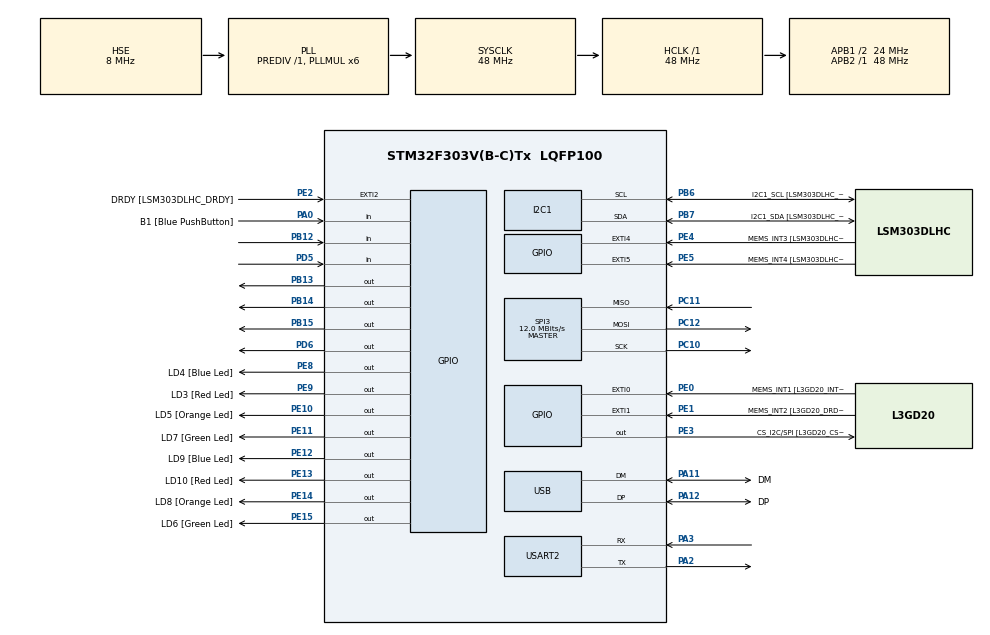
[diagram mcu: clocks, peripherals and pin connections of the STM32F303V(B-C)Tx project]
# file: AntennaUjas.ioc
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I2C1.Timing=0x2000090E
I2C1.Timing-I2C=0x2000090E
Mcu.Family=STM32F3
Mcu.Name=STM32F303V(B-C)Tx
Mcu.Package=LQFP100
NVIC.PriorityGroup=NVIC_PRIORITYGROUP_0
NVIC.SPI3_IRQn=true\:0\:0\:false\:false\:true\:true\:true\:true
PA0.GPIO_Label=B1 [Blue PushButton]
PA0.Signal=GPIO_Input
PA11.GPIO_Label=DM
PA11.Mode=Device
PA11.Signal=USB_DM
PA12.GPIO_Label=DP
PA12.Mode=Device
PA12.Signal=USB_DP
PA13.GPIO_Label=SWDIO
PA13.Mode=Serial_Wire
PA13.Signal=SYS_JTMS-SWDIO
PA14.GPIO_Label=SWCLK
PA14.Mode=Serial_Wire
PA14.Signal=SYS_JTCK-SWCLK
PA2.Mode=Asynchronous
PA2.Signal=USART2_TX
PA3.Mode=Asynchronous
PA3.Signal=USART2_RX
PB12.Signal=GPIO_Input
PB13.Signal=GPIO_Output
PB14.Signal=GPIO_Output
PB15.Signal=GPIO_Output
PB3.GPIO_Label=SWO
PB3.Signal=SYS_JTDO-TRACESWO
PB6.GPIO_Label=I2C1_SCL [LSM303DLHC_SCL]
PB6.GPIO_Pu=GPIO_PULLUP
PB6.Mode=I2C
PB6.Signal=I2C1_SCL
PB7.GPIO_Label=I2C1_SDA [LSM303DLHC_SDA]
PB7.GPIO_Pu=GPIO_PULLUP
PB7.Mode=I2C
PB7.Signal=I2C1_SDA
PC10.Mode=Full_Duplex_Master
PC10.Signal=SPI3_SCK
PC11.Mode=Full_Duplex_Master
PC11.Signal=SPI3_MISO
PC12.Mode=Full_Duplex_Master
PC12.Signal=SPI3_MOSI
PC14-OSC32_IN.GPIO_Label=OSC32_IN
PC14-OSC32_IN.Signal=RCC_OSC32_IN
PC15-OSC32_OUT.GPIO_Label=OSC32_OUT
PC15-OSC32_OUT.Signal=RCC_OSC32_OUT
PD5.GPIO_PuPd=GPIO_NOPULL
PD5.Signal=GPIO_Input
PD6.GPIO_ModeDefaultOutputPP=GPIO_MODE_OUTPUT_PP
PD6.GPIO_PuPd=GPIO_NOPULL
PD6.Signal=GPIO_Output
PE0.GPIO_Label=MEMS_INT1 [L3GD20_INT1]
PE0.GPIO_ModeDefaultEXTI=GPIO_MODE_EVT_RISING
PE0.Signal=GPXTI0
PE1.GPIO_Label=MEMS_INT2 [L3GD20_DRDY/INT2]
PE1.GPIO_ModeDefaultEXTI=GPIO_MODE_EVT_RISING
PE1.Signal=GPXTI1
PE10.GPIO_Label=LD5 [Orange Led]
PE10.Signal=GPIO_Output
PE11.GPIO_Label=LD7 [Green Led]
PE11.Signal=GPIO_Output
PE12.GPIO_Label=LD9 [Blue Led]
PE12.Signal=GPIO_Output
PE13.GPIO_Label=LD10 [Red Led]
PE13.Signal=GPIO_Output
PE14.GPIO_Label=LD8 [Orange Led]
PE14.Signal=GPIO_Output
PE15.GPIO_Label=LD6 [Green Led]
PE15.Signal=GPIO_Output
PE2.GPIO_Label=DRDY [LSM303DLHC_DRDY]
PE2.GPIO_ModeDefaultEXTI=GPIO_MODE_EVT_RISING
PE2.Signal=GPXTI2
PE3.GPIO_Label=CS_I2C/SPI [L3GD20_CS_I2C/SPI]
PE3.Signal=GPIO_Output
PE4.GPIO_Label=MEMS_INT3 [LSM303DLHC_INT1]
PE4.GPIO_ModeDefaultEXTI=GPIO_MODE_EVT_RISING
PE4.Signal=GPXTI4
PE5.GPIO_Label=MEMS_INT4 [LSM303DLHC_INT2]
PE5.GPIO_ModeDefaultEXTI=GPIO_MODE_EVT_RISING
PE5.Signal=GPXTI5
PE8.GPIO_Label=LD4 [Blue Led]
PE8.Signal=GPIO_Output
PE9.GPIO_Label=LD3 [Red Led]
PE9.Signal=GPIO_Output
PF0-OSC_IN.GPIO_Label=OSC_IN
PF0-OSC_IN.Mode=HSE-External-Clock-Source
PF0-OSC_IN.Signal=RCC_OSC_IN
PF1-OSC_OUT.GPIO_Label=OSC_OUT
PF1-OSC_OUT.Signal=RCC_OSC_OUT
ProjectManager.HeapSize=0x200
ProjectManager.StackSize=0x400
ProjectManager.TargetToolchain=STM32CubeIDE
RCC.AHBFreq_Value=48000000
RCC.APB1CLKDivider=RCC_HCLK_DIV2
RCC.APB1Freq_Value=24000000
RCC.APB1TimFreq_Value=48000000
RCC.APB2Freq_Value=48000000
RCC.APB2TimFreq_Value=48000000
RCC.CortexFreq_Value=48000000
RCC.HCLKFreq_Value=48000000
RCC.HSE_VALUE=8000000
RCC.HSI_VALUE=8000000
RCC.LSE_VALUE=32768
RCC.PLLMUL=RCC_PLL_MUL6
RCC.SYSCLKFreq_VALUE=48000000
RCC.SYSCLKSourceVirtual=RCC_SYSCLKSOURCE_PLLCLK
RCC.USBFreq_Value=48000000
SPI3.CalculateBaudRate=12.0 MBits/s
SPI3.Direction=SPI_DIRECTION_2LINES
SPI3.Mode=SPI_MODE_MASTER
SPI3.VirtualType=VM_MASTER
USART2.VirtualMode-Asynchronous=VM_ASYNC
VP_TIM1_VS_ClockSourceINT.Mode=Internal
board=STM32F3DISCOVERY

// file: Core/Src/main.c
/* USER CODE BEGIN Header */
/**
  ******************************************************************************
  * @file           : main.c
  * @brief          : Main program body
  ******************************************************************************
  * @attention
  *
  * Copyright (c) 2023 STMicroelectronics.
  * All rights reserved.
  *
  * This software is licensed under terms that can be found in the LICENSE file
  * in the root directory of this software component.
  * If no LICENSE file comes with this software, it is provided AS-IS.
  *
  ******************************************************************************
  */
/* USER CODE END Header */
#include "main.h"
#include "i2c.h"
#include "spi.h"
#include "tim.h"
#include "usart.h"
#include "usb.h"
#include "gpio.h"

/* USER CODE BEGIN Includes */
#include <stdio.h>
#include <stdlib.h>
#include "NRF905.h"
/* USER CODE END Includes */

void SystemClock_Config(void);
/* USER CODE BEGIN PFP */
int _write(int file, char *ptr, int len) {
	HAL_UART_Transmit(&huart2, (uint8_t*) ptr, len, 50);
	for (int i = 0; i < len; i++) {
		ITM_SendChar(*ptr++);
	}
	return len;
}
/* USER CODE END PFP */

/* USER CODE BEGIN 0 */
NRF905_hw_t NRF905_hw;
NRF905_t NRF905;

int master;
int ret;

char buffer[64];
char nrf905_payload_buffer[NRF905_MAX_PAYLOAD + 1];

int message;
int message_length;

int number = 1234;
char str [10];

uint32_t my_address;
uint32_t receiver_address;
uint32_t ans_data;

#define ADDRESS_MASTER 0x25D34478
#define ADDRESS_SLAVE  0x6DA0C59B
/* USER CODE END 0 */

int main(void)
{

  /* MCU Configuration--------------------------------------------------------*/

  /* Reset of all peripherals, Initializes the Flash interface and the Systick. */
  HAL_Init();

  /* Configure the system clock */
  SystemClock_Config();

  /* Initialize all configured peripherals */
  MX_GPIO_Init();
  MX_I2C1_Init();
  MX_USB_PCD_Init();
  MX_USART2_UART_Init();
  MX_SPI3_Init();
  MX_TIM1_Init();
  /* USER CODE BEGIN 2 */
	uint32_t uid = 0x00;
	for (uint8_t i = 0; i < 3; ++i) {
		uid += *(uint32_t*) (UID_BASE + i * 4);
	}
	srand(uid);

	NRF905_hw.gpio[NRF905_HW_GPIO_TXEN].pin = GPIO_PIN_15;
	NRF905_hw.gpio[NRF905_HW_GPIO_TXEN].port = GPIOB;
	NRF905_hw.gpio[NRF905_HW_GPIO_TRX_EN].pin = GPIO_PIN_13;
	NRF905_hw.gpio[NRF905_HW_GPIO_TRX_EN].port = GPIOB;
	NRF905_hw.gpio[NRF905_HW_GPIO_PWR].pin = GPIO_PIN_14;
	NRF905_hw.gpio[NRF905_HW_GPIO_PWR].port = GPIOB;

	NRF905_hw.gpio[NRF905_HW_GPIO_CD].pin = GPIO_PIN_12;
	NRF905_hw.gpio[NRF905_HW_GPIO_CD].port = GPIOB;
	NRF905_hw.gpio[NRF905_HW_GPIO_AM].pin = 0;
	NRF905_hw.gpio[NRF905_HW_GPIO_AM].port = NULL;
	NRF905_hw.gpio[NRF905_HW_GPIO_DR].pin = 0;
	NRF905_hw.gpio[NRF905_HW_GPIO_DR].port = NULL;

	NRF905_hw.gpio[NRF905_HW_GPIO_CS].pin = GPIO_PIN_3;
	NRF905_hw.gpio[NRF905_HW_GPIO_CS].port = GPIOE;

	NRF905_hw.tim = &htim1;
	NRF905_hw.spi = &hspi3;

    HAL_GPIO_WritePin(GPIOD, GPIO_PIN_6, GPIO_PIN_SET);

	master = HAL_GPIO_ReadPin(GPIOD, GPIO_PIN_6);

//	if (master == 1) {
//		my_address = ADDRESS_MASTER;
//		receiver_address = ADDRESS_SLAVE;
//	} else {
//		my_address = ADDRESS_SLAVE;
//		receiver_address = ADDRESS_MASTER;
//	}
//
//	if (master == 1) {
//		printf("Mode: Master, TX, %08lX\r\n", my_address);
//		HAL_GPIO_WritePin(GPIOE, LD9_Pin, GPIO_PIN_RESET);
//	} else {
//		printf("Mode: Slave, RX, %08lX\r\n", my_address);
//
//		HAL_GPIO_WritePin(GPIOE, LD9_Pin, GPIO_PIN_SET);
//	}
//
//	NRF905_init(&NRF905, &NRF905_hw);
//	NRF905_set_listen_address(&NRF905, receiver_address);
//
//	printf("Reg conf: ");
//	for (int i = 0; i < 10; ++i) {
//		uint8_t d = NRF905_write_config_register(&NRF905, i, i);
////		uint8_t d = NRF905_read_config_register(&NRF905, i);
//		printf("%02X, ", d);
//	}
//	printf("\r\n");
  /* USER CODE END 2 */

  /* Infinite loop */
  /* USER CODE BEGIN WHILE */
//	int c = 0;

	  while (1)
	  {
			if (master >= 1) {
				my_address = ADDRESS_MASTER;
				receiver_address = ADDRESS_SLAVE;
			} else {
				my_address = ADDRESS_SLAVE;
				receiver_address = ADDRESS_MASTER;
			}

			if (master >= 1) {
				printf("1234\r\n");
	//	  		printf("Mode: Master, TX, %08lX\r\n", my_address);
				HAL_GPIO_WritePin(GPIOE, LD9_Pin, GPIO_PIN_SET);
			} else {
	//	  		printf("Mode: Slave, RX, %08lX\r\n", my_address);
				printf("1234\r\n");
				HAL_GPIO_WritePin(GPIOE, LD8_Pin, GPIO_PIN_SET);
				//HAL_SPI_Receive_DMA(hspi, pData, Size)
				//HAL_SPI_Receive_IT(&hspi3, address, 1);

			}

		    snprintf(str, sizeof str, "%d", number);
		    printf("Result: %s\n", str);
		    return 0;

			for(j=str-1; j>=0; j--){ printf("%c", size(number[j]));

			}

			NRF905_init(&NRF905, &NRF905_hw);
			NRF905_set_listen_address(&NRF905, receiver_address);

	//	  	printf("Reg conf: ");
	//	  	for (int i = 0; i < 10; ++i) {
	//	  		uint8_t d = NRF905_write_config_register(&NRF905, i, i);
	//	  //		uint8_t d = NRF905_read_config_register(&NRF905, i);
	//	  		printf("%02X, ", d);
	//	  	}
			printf("\r\n");
		/* USER CODE END WHILE */

	  }
}

void SystemClock_Config(void)
{
  RCC_OscInitTypeDef RCC_OscInitStruct = {0};
  RCC_ClkInitTypeDef RCC_ClkInitStruct = {0};
  RCC_PeriphCLKInitTypeDef PeriphClkInit = {0};

  /** Initializes the RCC Oscillators according to the specified parameters
  * in the RCC_OscInitTypeDef structure.
  */
  RCC_OscInitStruct.OscillatorType = RCC_OSCILLATORTYPE_HSI|RCC_OSCILLATORTYPE_HSE;
  RCC_OscInitStruct.HSEState = RCC_HSE_BYPASS;
  RCC_OscInitStruct.HSEPredivValue = RCC_HSE_PREDIV_DIV1;
  RCC_OscInitStruct.HSIState = RCC_HSI_ON;
  RCC_OscInitStruct.HSICalibrationValue = RCC_HSICALIBRATION_DEFAULT;
  RCC_OscInitStruct.PLL.PLLState = RCC_PLL_ON;
  RCC_OscInitStruct.PLL.PLLSource = RCC_PLLSOURCE_HSE;
  RCC_OscInitStruct.PLL.PLLMUL = RCC_PLL_MUL6;
  if (HAL_RCC_OscConfig(&RCC_OscInitStruct) != HAL_OK)
  {
    Error_Handler();
  }

  /** Initializes the CPU, AHB and APB buses clocks
  */
  RCC_ClkInitStruct.ClockType = RCC_CLOCKTYPE_HCLK|RCC_CLOCKTYPE_SYSCLK
                              |RCC_CLOCKTYPE_PCLK1|RCC_CLOCKTYPE_PCLK2;
  RCC_ClkInitStruct.SYSCLKSource = RCC_SYSCLKSOURCE_PLLCLK;
  RCC_ClkInitStruct.AHBCLKDivider = RCC_SYSCLK_DIV1;
  RCC_ClkInitStruct.APB1CLKDivider = RCC_HCLK_DIV2;
  RCC_ClkInitStruct.APB2CLKDivider = RCC_HCLK_DIV1;

  if (HAL_RCC_ClockConfig(&RCC_ClkInitStruct, FLASH_LATENCY_1) != HAL_OK)
  {
    Error_Handler();
  }
  PeriphClkInit.PeriphClockSelection = RCC_PERIPHCLK_USB|RCC_PERIPHCLK_USART2
                              |RCC_PERIPHCLK_I2C1|RCC_PERIPHCLK_TIM1;
  PeriphClkInit.Usart2ClockSelection = RCC_USART2CLKSOURCE_PCLK1;
  PeriphClkInit.I2c1ClockSelection = RCC_I2C1CLKSOURCE_HSI;
  PeriphClkInit.USBClockSelection = RCC_USBCLKSOURCE_PLL;
  PeriphClkInit.Tim1ClockSelection = RCC_TIM1CLK_HCLK;
  if (HAL_RCCEx_PeriphCLKConfig(&PeriphClkInit) != HAL_OK)
  {
    Error_Handler();
  }
}

void Error_Handler(void)
{
  __disable_irq();
  while (1)
  {
  }
}
